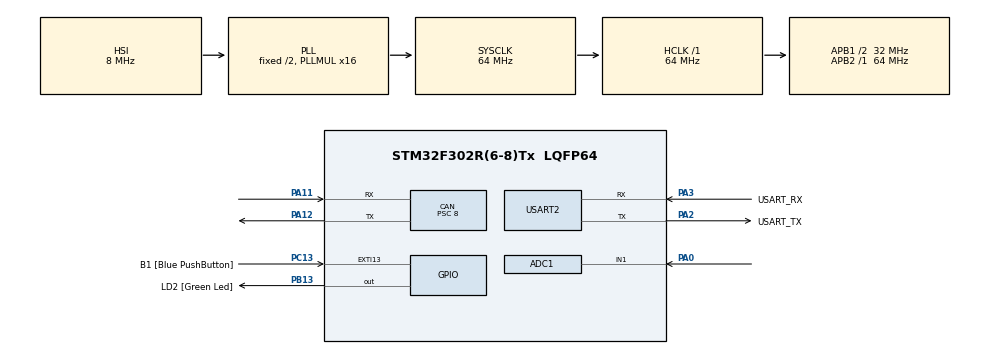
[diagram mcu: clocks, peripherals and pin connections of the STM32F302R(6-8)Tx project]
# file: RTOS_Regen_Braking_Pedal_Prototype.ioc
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ADC1.Channel-0\#ChannelRegularConversion=ADC_CHANNEL_1
ADC1.NbrOfConversionFlag=1
ADC1.Offset-0\#ChannelRegularConversion=0
ADC1.OffsetNumber-0\#ChannelRegularConversion=ADC_OFFSET_NONE
ADC1.Rank-0\#ChannelRegularConversion=1
ADC1.SamplingTime-0\#ChannelRegularConversion=ADC_SAMPLETIME_601CYCLES_5
ADC1.SamplingTimeOPAMP-0\#ChannelRegularConversion=ADC_SAMPLETIME_61CYCLES_5
ADC1.SubFamily=STM32F302x8
ADC1.master=1
CAN.BS1=CAN_BS1_13TQ
CAN.BS2=CAN_BS2_2TQ
CAN.CalculateBaudRate=250000
CAN.CalculateTimeBit=4000
CAN.CalculateTimeQuantum=250.0
CAN.Mode=CAN_MODE_LOOPBACK
CAN.Prescaler=8
FREERTOS.Tasks01=PedalControl,24,128,ControlPedal,Default,NULL,Dynamic,NULL,NULL;DataDisplay,24,128,DisplayData,Default,NULL,Dynamic,NULL,NULL;APPSCalibration,16,128,StartAPPSCalibration,Default,NULL,Dynamic,NULL,NULL;CANWatchdog,24,128,StartCANWatchdog,Default,NULL,Dynamic,NULL,NULL
FREERTOS.configUSE_NEWLIB_REENTRANT=1
Mcu.Family=STM32F3
Mcu.Name=STM32F302R(6-8)Tx
Mcu.Package=LQFP64
NVIC.PriorityGroup=NVIC_PRIORITYGROUP_4
NVIC.TIM6_DAC_IRQn=true\:15\:0\:false\:false\:true\:false\:false\:true\:true
NVIC.TimeBase=TIM6_DAC_IRQn
NVIC.TimeBaseIP=TIM6
NVIC.USB_LP_CAN_RX0_IRQn=true\:5\:0\:false\:false\:true\:true\:true\:true\:true
PA0.Mode=IN1-Single-Ended
PA0.Signal=ADC1_IN1
PA11.GPIO_PuPd=GPIO_PULLUP
PA11.Mode=CAN_Activate
PA11.Signal=CAN_RX
PA12.Mode=CAN_Activate
PA12.Signal=CAN_TX
PA13.GPIO_Label=TMS
PA13.Mode=Serial_Wire
PA13.Signal=SYS_JTMS-SWDIO
PA14.GPIO_Label=TCK
PA14.Mode=Serial_Wire
PA14.Signal=SYS_JTCK-SWCLK
PA2.GPIO_Label=USART_TX
PA2.GPIO_Mode=GPIO_MODE_AF_PP
PA2.GPIO_PuPd=GPIO_NOPULL
PA2.GPIO_Speed=GPIO_SPEED_FREQ_LOW
PA2.Mode=Asynchronous
PA2.Signal=USART2_TX
PA3.GPIO_Label=USART_RX
PA3.GPIO_Mode=GPIO_MODE_AF_PP
PA3.GPIO_PuPd=GPIO_NOPULL
PA3.GPIO_Speed=GPIO_SPEED_FREQ_LOW
PA3.Mode=Asynchronous
PA3.Signal=USART2_RX
PB13.GPIO_Label=LD2 [Green Led]
PB13.Signal=GPIO_Output
PB3.GPIO_Label=SWO
PB3.Mode=Trace_Asynchronous_SW
PB3.Signal=SYS_JTDO-TRACESWO
PC13.GPIO_Label=B1 [Blue PushButton]
PC13.GPIO_ModeDefaultEXTI=GPIO_MODE_IT_FALLING
PC13.Signal=GPXTI13
PC14\ -\ OSC32_IN.Mode=LSE-External-Oscillator
PC14\ -\ OSC32_IN.Signal=RCC_OSC32_IN
PC15\ -\ OSC32_OUT.Mode=LSE-External-Oscillator
PC15\ -\ OSC32_OUT.Signal=RCC_OSC32_OUT
PF0-OSC_IN.Mode=HSE-External-Clock-Source
PF0-OSC_IN.Signal=RCC_OSC_IN
PF1-OSC_OUT.Signal=RCC_OSC_OUT
ProjectManager.HeapSize=0x200
ProjectManager.StackSize=0x400
ProjectManager.TargetToolchain=STM32CubeIDE
RCC.AHBFreq_Value=64000000
RCC.APB1CLKDivider=RCC_HCLK_DIV2
RCC.APB1Freq_Value=32000000
RCC.APB1TimFreq_Value=64000000
RCC.APB2Freq_Value=64000000
RCC.APB2TimFreq_Value=64000000
RCC.CortexFreq_Value=64000000
RCC.HCLKFreq_Value=64000000
RCC.HSE_VALUE=8000000
RCC.HSI_VALUE=8000000
RCC.PLLM=8
RCC.PLLMUL=RCC_PLL_MUL16
RCC.PLLN=336
RCC.PLLP=RCC_PLLP_DIV4
RCC.PLLQ=7
RCC.RCC_PLLsource_Clock_Source_FROM_HSE=RCC_HSE_PREDIV_DIV2
RCC.SYSCLKFreq_VALUE=64000000
RCC.SYSCLKSourceVirtual=RCC_SYSCLKSOURCE_PLLCLK
RCC.USBFreq_Value=64000000
USART2.VirtualMode-Asynchronous=VM_ASYNC
VP_FREERTOS_VS_CMSIS_V2.Mode=CMSIS_V2
VP_SYS_VS_tim6.Mode=TIM6
board=NUCLEO-F302R8

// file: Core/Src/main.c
/* USER CODE BEGIN Header */
/**
  ******************************************************************************
  * @file           : main.c
  * @brief          : Main program body
  ******************************************************************************
  * @attention
  *
  * Copyright (c) 2026 STMicroelectronics.
  * All rights reserved.
  *
  * This software is licensed under terms that can be found in the LICENSE file
  * in the root directory of this software component.
  * If no LICENSE file comes with this software, it is provided AS-IS.
  *
  ******************************************************************************
  */
/* USER CODE END Header */
#include "main.h"
#include "cmsis_os.h"

/* USER CODE BEGIN Includes */
#include <stdio.h>
#include <string.h>
#include <ctype.h>
#include <stdlib.h>

/* USER CODE END Includes */

/* USER CODE BEGIN PD */

#define DISPLAY_CAN_MESSAGE 1			// Turn this on/off if you want to print/ignore raw CAN Messages
#define DISPLAY_CAN_ERRORS 1			// Turn this on/off if you want to print/ignore CAN Errors

// Pedal Calibration Inversion Constants
#define  InvertAnalogOnePedal 0 // Swap the max and min pedal voltages on analog line one
#define  InvertAnalogTwoPedal 0 // Swap the max and min pedal voltages on analog line two

/* USER CODE END PD */

ADC_HandleTypeDef hadc1;

CAN_HandleTypeDef hcan;

UART_HandleTypeDef huart2;

/* Definitions for PedalControl */
osThreadId_t PedalControlHandle;
const osThreadAttr_t PedalControl_attributes = {
  .name = "PedalControl",
  .stack_size = 128 * 4,
  .priority = (osPriority_t) osPriorityNormal,
};
/* Definitions for DataDisplay */
osThreadId_t DataDisplayHandle;
const osThreadAttr_t DataDisplay_attributes = {
  .name = "DataDisplay",
  .stack_size = 128 * 4,
  .priority = (osPriority_t) osPriorityNormal,
};
/* Definitions for APPSCalibration */
osThreadId_t APPSCalibrationHandle;
const osThreadAttr_t APPSCalibration_attributes = {
  .name = "APPSCalibration",
  .stack_size = 128 * 4,
  .priority = (osPriority_t) osPriorityBelowNormal,
};
/* Definitions for CANWatchdog */
osThreadId_t CANWatchdogHandle;
const osThreadAttr_t CANWatchdog_attributes = {
  .name = "CANWatchdog",
  .stack_size = 128 * 4,
  .priority = (osPriority_t) osPriorityNormal,
};
/* USER CODE BEGIN PV */

CAN_TxHeaderTypeDef TxHeader; // Header containing the information of the transmitted frame
CAN_RxHeaderTypeDef RxHeader; // Header containing the information of the received frame

uint8_t TxData[8] = {0}; // Buffer of the data to send (8 bytes data)
uint8_t RxData[8]; // Buffer of the received data (8 bytes data)
uint32_t TxMailbox; // The number of the email box that transmitted the Tx message

const uint8_t MC_NodeId = 0x04; // Node ID of the MC

// MC commands
const uint16_t CMD_SetRelativeCurrent = (0x500 + MC_NodeId); // Set relative AC current message ID
const uint16_t CMD_SetRelativeBrakeCurrent = (0x600 + MC_NodeId);  // Set relative AC brake current message ID
const uint16_t CMD_SetMaxAcCurrent = (0x800 + MC_NodeId); // Set max AC current limit message ID
const uint16_t CMD_SetMaxBrakeCurrent = (0x900 + MC_NodeId); // Set max AC brake current limit message ID
const uint16_t CMD_SetMaxDcCurrent = (0xA + MC_NodeId); // Set max DC current limit message ID
const uint16_t CMD_SetMaxDcBrakeCurrent = (0xB + MC_NodeId); // Set max DC brake current limit message ID

// Data from MC
const uint16_t RCV_MC_GeneralData = (0x1F + MC_NodeId);

// AMS Limits
uint16_t DischargeCurrentLimit = 30; // AMS discharge current limit
uint16_t ChargeCurrentLimit = 20; // AMS charge current limit

// Pedal Calibration Constants
float MaxPedalVoltage[2] = {3.3, 3.3}; // Max voltages on both analog lines for the pedal input
float MinPedalVoltage[2] = {0.5, 0.5}; // Min voltages on both analog lines for the pedal input
float CenterPedalVoltage[2] = {2.0, 2.0}; // Center voltages on both analog lines for the pedal input. This voltage corresponds position in which braking/throttle is swapped

float PedalDeadband = 0.15; // Percent deadband of pedal

uint32_t lastThrottleOrBrake = 0; // Gets the time at which a throttle or break CAN message is sent

float inputPedalVoltage = 2.0; // voltage that the APPS is outputting to the STM
char msg[20];
char CANBuffer[100]; // Buffer used to display CAN messages on terminal
uint16_t CalculatedValue; // The value to be sent over to the MC over CAN

///////////////////////////////////////////////////////////////////////////////////////////////
////////////////////////////////////CAN Watchdog /////////////////////////////////////////////
/////////////////////////////////////////////////////////////////////////////////////////////

// Initializes variables to be used to check when the last respective message was sent
// uint32_t lastHeartBeatMessage = 0;
 uint32_t lastTemMessage = 0;
 uint32_t lastAmsMessage = 0;
 uint32_t lastMcMessage = 0;
 uint32_t lastChargerMessage = 0;

 // Initializes flags to indicate when a certain ECU hasn't sent a message in a second, timing out
// uint8_t heartBeatError = 0;
 uint8_t temError = 0;
 uint8_t amsError = 0;
 uint8_t mcError = 0;
 uint8_t chargerError = 0;

 // Creates int to determine if we are charging or not
 uint8_t isCharging = 1;

/* USER CODE END PV */

void SystemClock_Config(void);
static void MX_GPIO_Init(void);
static void MX_CAN_Init(void);
static void MX_USART2_UART_Init(void);
static void MX_ADC1_Init(void);
void ControlPedal(void *argument);
void DisplayData(void *argument);
void StartAPPSCalibration(void *argument);
void StartCANWatchdog(void *argument);

/* USER CODE BEGIN PFP */

// Prototype for CAN Transmission
HAL_StatusTypeDef CAN_Send(uint32_t id, uint8_t *data, uint8_t length);

// Prototype to see if a certain message hasn't been seen in over a second
uint8_t lastMessageSent(uint32_t lastMessage);

/* USER CODE END PFP */

int main(void)
{

  /* MCU Configuration--------------------------------------------------------*/

  /* Reset of all peripherals, Initializes the Flash interface and the Systick. */
  HAL_Init();

  /* USER CODE BEGIN Init */

  HAL_Delay(35000);				// Add a delay for startup to have no power to not fault anything

  /* USER CODE END Init */

  /* Configure the system clock */
  SystemClock_Config();

  /* Initialize all configured peripherals */
  MX_GPIO_Init();
  MX_CAN_Init();
  MX_USART2_UART_Init();
  MX_ADC1_Init();
  /* USER CODE BEGIN 2 */

  TxHeader.StdId = 0x123; // ID the STM is transmitting with

  // Describes how CAN frame should be transmitted

  TxHeader.RTR = CAN_RTR_DATA; // Remote Transmission Request (RTR) tells CAN controller we are sending data
  TxHeader.IDE = CAN_ID_STD; // Identifies if we are using extended(29-bit) or standard (11-bit) CAN; It is currently set to standard
  TxHeader.DLC = 8; // Data Length Code (DLC) -- The number of bytes in the data frame
  TxHeader.TransmitGlobalTime = DISABLE; // Disables internal timestamp when sending data
  TxData[0] = 0;
  TxData[7] = 0xFF;

  /* USER CODE END 2 */

  /* Init scheduler */
  osKernelInitialize();

  /* Create the thread(s) */
  /* creation of PedalControl */
  PedalControlHandle = osThreadNew(ControlPedal, NULL, &PedalControl_attributes);

  /* creation of DataDisplay */
  DataDisplayHandle = osThreadNew(DisplayData, NULL, &DataDisplay_attributes);

  /* creation of APPSCalibration */
  APPSCalibrationHandle = osThreadNew(StartAPPSCalibration, NULL, &APPSCalibration_attributes);

  /* creation of CANWatchdog */
  CANWatchdogHandle = osThreadNew(StartCANWatchdog, NULL, &CANWatchdog_attributes);

  /* Start scheduler */
  osKernelStart();

  /* We should never get here as control is now taken by the scheduler */

  /* Infinite loop */
  while (1)
  {

  }
}

void SystemClock_Config(void)
{
  RCC_OscInitTypeDef RCC_OscInitStruct = {0};
  RCC_ClkInitTypeDef RCC_ClkInitStruct = {0};
  RCC_PeriphCLKInitTypeDef PeriphClkInit = {0};

  /** Initializes the RCC Oscillators according to the specified parameters
  * in the RCC_OscInitTypeDef structure.
  */
  RCC_OscInitStruct.OscillatorType = RCC_OSCILLATORTYPE_HSI;
  RCC_OscInitStruct.HSIState = RCC_HSI_ON;
  RCC_OscInitStruct.HSICalibrationValue = RCC_HSICALIBRATION_DEFAULT;
  RCC_OscInitStruct.PLL.PLLState = RCC_PLL_ON;
  RCC_OscInitStruct.PLL.PLLSource = RCC_PLLSOURCE_HSI;
  RCC_OscInitStruct.PLL.PLLMUL = RCC_PLL_MUL16;
  if (HAL_RCC_OscConfig(&RCC_OscInitStruct) != HAL_OK)
  {
    Error_Handler();
  }

  /** Initializes the CPU, AHB and APB buses clocks
  */
  RCC_ClkInitStruct.ClockType = RCC_CLOCKTYPE_HCLK|RCC_CLOCKTYPE_SYSCLK
                              |RCC_CLOCKTYPE_PCLK1|RCC_CLOCKTYPE_PCLK2;
  RCC_ClkInitStruct.SYSCLKSource = RCC_SYSCLKSOURCE_PLLCLK;
  RCC_ClkInitStruct.AHBCLKDivider = RCC_SYSCLK_DIV1;
  RCC_ClkInitStruct.APB1CLKDivider = RCC_HCLK_DIV2;
  RCC_ClkInitStruct.APB2CLKDivider = RCC_HCLK_DIV1;

  if (HAL_RCC_ClockConfig(&RCC_ClkInitStruct, FLASH_LATENCY_2) != HAL_OK)
  {
    Error_Handler();
  }
  PeriphClkInit.PeriphClockSelection = RCC_PERIPHCLK_ADC1;
  PeriphClkInit.Adc1ClockSelection = RCC_ADC1PLLCLK_DIV1;

  if (HAL_RCCEx_PeriphCLKConfig(&PeriphClkInit) != HAL_OK)
  {
    Error_Handler();
  }
}

static void MX_ADC1_Init(void)
{

  ADC_ChannelConfTypeDef sConfig = {0};

  /** Common config
  */
  hadc1.Instance = ADC1;
  hadc1.Init.ClockPrescaler = ADC_CLOCK_ASYNC_DIV1;
  hadc1.Init.Resolution = ADC_RESOLUTION_12B;
  hadc1.Init.ScanConvMode = ADC_SCAN_DISABLE;
  hadc1.Init.ContinuousConvMode = DISABLE;
  hadc1.Init.DiscontinuousConvMode = DISABLE;
  hadc1.Init.ExternalTrigConvEdge = ADC_EXTERNALTRIGCONVEDGE_NONE;
  hadc1.Init.ExternalTrigConv = ADC_SOFTWARE_START;
  hadc1.Init.DataAlign = ADC_DATAALIGN_RIGHT;
  hadc1.Init.NbrOfConversion = 1;
  hadc1.Init.DMAContinuousRequests = DISABLE;
  hadc1.Init.EOCSelection = ADC_EOC_SINGLE_CONV;
  hadc1.Init.LowPowerAutoWait = DISABLE;
  hadc1.Init.Overrun = ADC_OVR_DATA_OVERWRITTEN;
  if (HAL_ADC_Init(&hadc1) != HAL_OK)
  {
    Error_Handler();
  }

  /** Configure Regular Channel
  */
  sConfig.Channel = ADC_CHANNEL_1;
  sConfig.Rank = ADC_REGULAR_RANK_1;
  sConfig.SingleDiff = ADC_SINGLE_ENDED;
  sConfig.SamplingTime = ADC_SAMPLETIME_601CYCLES_5;
  sConfig.OffsetNumber = ADC_OFFSET_NONE;
  sConfig.Offset = 0;
  if (HAL_ADC_ConfigChannel(&hadc1, &sConfig) != HAL_OK)
  {
    Error_Handler();
  }

}

static void MX_CAN_Init(void)
{

  /* USER CODE BEGIN CAN_Init 0 */

	CAN_FilterTypeDef filter; // Declares filter

  /* USER CODE END CAN_Init 0 */

  hcan.Instance = CAN;
  hcan.Init.Prescaler = 8;
  hcan.Init.Mode = CAN_MODE_LOOPBACK;
  hcan.Init.SyncJumpWidth = CAN_SJW_1TQ;
  hcan.Init.TimeSeg1 = CAN_BS1_13TQ;
  hcan.Init.TimeSeg2 = CAN_BS2_2TQ;
  hcan.Init.TimeTriggeredMode = DISABLE;
  hcan.Init.AutoBusOff = DISABLE;
  hcan.Init.AutoWakeUp = DISABLE;
  hcan.Init.AutoRetransmission = DISABLE;
  hcan.Init.ReceiveFifoLocked = DISABLE;
  hcan.Init.TransmitFifoPriority = DISABLE;
  if (HAL_CAN_Init(&hcan) != HAL_OK)
  {
    Error_Handler();
  }
  /* USER CODE BEGIN CAN_Init 2 */

  // Sets up filter for CAN messages; Allows all messages to pass

    filter.FilterBank = 0;
    filter.FilterMode = CAN_FILTERMODE_IDMASK;
    filter.FilterScale = CAN_FILTERSCALE_32BIT;
    filter.FilterIdHigh = 0x0000;
    filter.FilterIdLow = 0x0000;
    filter.FilterMaskIdHigh = 0x0000;
    filter.FilterMaskIdLow = 0x0000;
    filter.FilterFIFOAssignment = CAN_RX_FIFO0; // The data will be received in FIO0
    filter.FilterActivation = ENABLE;
    filter.SlaveStartFilterBank = 14;

    if (HAL_CAN_ConfigFilter(&hcan, &filter) != HAL_OK) // checks to see if filter is configured correctly
    {
  	  // Filter configuration error
  	  Error_Handler();
    }
    // Starts CAN peripheral if filter config is good
    if (HAL_CAN_Start(&hcan) != HAL_OK) // Tries to start CAN and checks for error
    {
  	  Error_Handler();
    }

    // Activate CAN RX notifications on FIFO0
    if (HAL_CAN_ActivateNotification(&hcan, CAN_IT_RX_FIFO0_MSG_PENDING) != HAL_OK)
    {
  	  Error_Handler();
    }

  /* USER CODE END CAN_Init 2 */

}

static void MX_USART2_UART_Init(void)
{

  huart2.Instance = USART2;
  huart2.Init.BaudRate = 38400;
  huart2.Init.WordLength = UART_WORDLENGTH_8B;
  huart2.Init.StopBits = UART_STOPBITS_1;
  huart2.Init.Parity = UART_PARITY_NONE;
  huart2.Init.Mode = UART_MODE_TX_RX;
  huart2.Init.HwFlowCtl = UART_HWCONTROL_NONE;
  huart2.Init.OverSampling = UART_OVERSAMPLING_16;
  huart2.Init.OneBitSampling = UART_ONE_BIT_SAMPLE_DISABLE;
  huart2.AdvancedInit.AdvFeatureInit = UART_ADVFEATURE_NO_INIT;
  if (HAL_UART_Init(&huart2) != HAL_OK)
  {
    Error_Handler();
  }

}

static void MX_GPIO_Init(void)
{
  GPIO_InitTypeDef GPIO_InitStruct = {0};

  /* GPIO Ports Clock Enable */
  __HAL_RCC_GPIOC_CLK_ENABLE();
  __HAL_RCC_GPIOF_CLK_ENABLE();
  __HAL_RCC_GPIOA_CLK_ENABLE();
  __HAL_RCC_GPIOB_CLK_ENABLE();

  /*Configure GPIO pin Output Level */
  HAL_GPIO_WritePin(LD2_GPIO_Port, LD2_Pin, GPIO_PIN_RESET);

  /*Configure GPIO pin : B1_Pin */
  GPIO_InitStruct.Pin = B1_Pin;
  GPIO_InitStruct.Mode = GPIO_MODE_IT_FALLING;
  GPIO_InitStruct.Pull = GPIO_NOPULL;
  HAL_GPIO_Init(B1_GPIO_Port, &GPIO_InitStruct);

  /*Configure GPIO pin : LD2_Pin */
  GPIO_InitStruct.Pin = LD2_Pin;
  GPIO_InitStruct.Mode = GPIO_MODE_OUTPUT_PP;
  GPIO_InitStruct.Pull = GPIO_NOPULL;
  GPIO_InitStruct.Speed = GPIO_SPEED_FREQ_LOW;
  HAL_GPIO_Init(LD2_GPIO_Port, &GPIO_InitStruct);

}

/* USER CODE BEGIN 4 */

// CAN Transmit Function
HAL_StatusTypeDef CAN_Send(uint32_t id, uint8_t *data, uint8_t length)
{
//    CAN_TxHeaderTypeDef TxHeader;
//    uint32_t TxMailbox;

    TxHeader.StdId = id;
    TxHeader.ExtId = 0;
    TxHeader.IDE   = CAN_ID_STD;
    TxHeader.RTR   = CAN_RTR_DATA;
    TxHeader.DLC   = length;
    TxHeader.TransmitGlobalTime = DISABLE;

    return HAL_CAN_AddTxMessage(&hcan, &TxHeader, data, &TxMailbox);
}

// Function to check if a certain message was received over the last half second
uint8_t lastMessageSent(uint32_t lastMessage){
	if ((HAL_GetTick() - lastMessage) >= 3000) {
		return 1;
	}
	return 0;
}

// Function to override print
//int _write(int file, char *ptr, int len)
//{
//    HAL_UART_Transmit(&huart2, (uint8_t *)ptr, len, HAL_MAX_DELAY);
//    return len;
//}

/* USER CODE END 4 */

void ControlPedal(void *argument)
{
  /* USER CODE BEGIN 5 */
  /* Infinite loop */
  for(;;)
  {
//	UBaseType_t highWaterMark;

	HAL_ADC_Start(&hadc1); // Starts ADC1 on STM32
//	HAL_ADC_PollForConversion(&hadc1, 20); // ADC data collected via polling with timeout of 20 units
	  if (HAL_ADC_PollForConversion(&hadc1, 20) == HAL_OK)
	  {
		  inputPedalVoltage = (HAL_ADC_GetValue(&hadc1)) * (3.3 / 4095);

//		  sprintf(msg, "Voltage: %hu\r\n", inputPedalVoltage);
	  }
//	  else
//	  {
//		  sprintf(msg, "ADC Timeout\r\n");
//	  }
	//inputPedalVoltage = HAL_ADC_GetValue(&hadc1); // Gets and stores ADC value from ADC1 into variable
//	  sprintf(msg, "Voltage: %hu \r\n", inputPedalVoltage);
//	  HAL_UART_Transmit(&huart2, (uint8_t *)msg, strlen(msg), HAL_MAX_DELAY); // Need to be mindefule of using max delay

	//inputPedalVoltage = 1.5;

	// Will need to think about what to do when pedal voltage is exactly the center voltage. However, this is where deadband may come in
	if (inputPedalVoltage > CenterPedalVoltage[0] && inputPedalVoltage <= MaxPedalVoltage[0]) // Checks if the car is trying to accelerate and is not faulted
	{
		//TxData[0]++; // Increment the first byte

		TxHeader.StdId = CMD_SetRelativeCurrent; // ID the STM is transmitting with

		CalculatedValue = ((inputPedalVoltage - CenterPedalVoltage[0]) / (MaxPedalVoltage[0] - CenterPedalVoltage[0])) * 1000;

		// Splits 16 bit calculated value into two separate bytes. This is because the MC expects a 2 byte long data frame
		// Shifting order is because of Big Endian format on MC
		// 0xFF used to explicitly select the correct bits to be sent.

		TxData[0] = (CalculatedValue >> 8) & 0xFF;   // 0x00
		TxData[1] = CalculatedValue & 0xFF;          // 0xc8

	}
	else if (inputPedalVoltage < CenterPedalVoltage[0] && inputPedalVoltage >= MinPedalVoltage[0]) // Checks if the car is braking and is not faulted
	{
		TxHeader.StdId = CMD_SetRelativeBrakeCurrent; // ID the STM is transmitting with

		CalculatedValue = ((inputPedalVoltage - MinPedalVoltage[0]) / (CenterPedalVoltage[0] - MinPedalVoltage[0])) * 1000;

		TxData[0] = (CalculatedValue >> 8) & 0xFF;   // 0x00
		TxData[1] = CalculatedValue & 0xFF;          // 0xc8
	}
	else
	{
		TxHeader.StdId = 0x111;

		TxData[0] = 0xFF;   // 0x00
		TxData[1] = 0xFF;
	}

//	printf("CMD = 0x%X\r\n", CMD_SetRelativeCurrent);
//	printf("StdId = 0x%X\r\n", TxHeader.StdId);

	while(HAL_CAN_GetTxMailboxesFreeLevel(&hcan) == 0); /* Wait till a Tx mailbox is free. Using while loop instead of HAL_Delay() */

	if (HAL_CAN_AddTxMessage(&hcan, &TxHeader, TxData, &TxMailbox) != HAL_OK)
	{
	 /* Transmission request Error */
	  Error_Handler();
	}

//	highWaterMark = uxTaskGetStackHighWaterMark(NULL);
//
//	printf("Unused stack: %lu words\r\n", (uint32_t)highWaterMark); // Prints how much space a task is not using

    osDelay(500);
  }
  /* USER CODE END 5 */
}

void DisplayData(void *argument)
{
  /* USER CODE BEGIN DisplayData */
  /* Infinite loop */
  for(;;)
  {

	if (HAL_CAN_GetRxFifoFillLevel(&hcan, CAN_RX_FIFO0) > 0) //  Checks if there are messages waiting in the receive FIFO
	{
		if (HAL_CAN_GetRxMessage(&hcan, CAN_RX_FIFO0, &RxHeader, RxData) != HAL_OK)
			{
				Error_Handler();
			}

		uint16_t Rx_Id; // Message ID of received data

		if (RxHeader.IDE == CAN_ID_STD) { // Checks if standard or extended CAN ID is being used
			Rx_Id = RxHeader.StdId; // Stores CAN ID of standard CAN message
		} else {
			Rx_Id = RxHeader.ExtId; // Stores CAN ID of extended CAN message
		}

		uint8_t CANBufferLengthUsed = 0;

		//snprintf returns the # of characters written

		CANBufferLengthUsed += snprintf(CANBuffer, sizeof(CANBuffer), "CAN Message: %08X	", Rx_Id); // Appends CAN ID to CANBuffer

		for (int i = 0; i < 8; i++)
		{
			// Prints received CAN data as 2 digit hex on new lines
			// Appends each new data on next empty CANBuffer spot
			CANBufferLengthUsed += snprintf(&CANBuffer[CANBufferLengthUsed], sizeof((CANBuffer) - CANBufferLengthUsed), " %02X", RxData[i]);
		}
		CANBufferLengthUsed += snprintf(&CANBuffer[CANBufferLengthUsed], sizeof((CANBuffer) - CANBufferLengthUsed), "\r\n");

//	    sprintf(msg, "Voltage: %.3f V\r\n", inputPedalVoltage);
//	    HAL_UART_Transmit(&huart2, (uint8_t *)msg, strlen(msg), HAL_MAX_DELAY); // Need to be mindefule of using max delay

		// Sends CANBuffer over UART
		HAL_UART_Transmit(&huart2, (uint8_t *)CANBuffer, CANBufferLengthUsed, HAL_MAX_DELAY); // CANBufferLengthUsed used instead of sizeof(CANBuffer) bc length of the CANBuffer is already known

	}

    osDelay(600);
  }
  /* USER CODE END DisplayData */
}

void StartAPPSCalibration(void *argument)
{
  for(;;)
  {
    osDelay(1);
  }
}

void StartCANWatchdog(void *argument)
{
  /* USER CODE BEGIN StartCANWatchdog */
  /* Infinite loop */
  for(;;)
  {

	  // Send CAN Heartbeat message
//	 CAN_Send(0x123, TxData, 8);

	 // Throw a lil delay to let the CAN message go thru
	 osDelay(50);

	 // Check if each message has been received over the past half second
//	 heartBeatError = lastMessageSent(lastHeartBeatMessage);
	 temError = lastMessageSent(lastTemMessage);
	 amsError = lastMessageSent(lastAmsMessage);
	 mcError = lastMessageSent(lastMcMessage);

	 // If charging enabled, also check for charger
	 if(isCharging)
	 {
		 chargerError = lastMessageSent(lastChargerMessage);
	 }
	 else{
		 chargerError = 0;
	 }

	 // If any of the error flags are high, Shut the relay down
	 if(temError + amsError + mcError + chargerError)
	 {
		 HAL_GPIO_WritePin(GPIOB, GPIO_PIN_3, GPIO_PIN_SET); // This turns the LED on
		 HAL_GPIO_WritePin(GPIOA, GPIO_PIN_0, GPIO_PIN_RESET);
	 }
	 else
	 {
		 HAL_GPIO_WritePin(GPIOB, GPIO_PIN_3, GPIO_PIN_RESET); // This turns the LED off
		 HAL_GPIO_WritePin(GPIOA, GPIO_PIN_0, GPIO_PIN_SET);

		 // Displays to the console any errors
		 if(DISPLAY_CAN_ERRORS)
		 {
//			 if(heartBeatError)
//			 {
//				 printf("Heartbeat message not received within a second.\r\n");
//				 fflush(stdout);
//			 }
			 if(temError)
			 {
				 printf("TEM message not received within a second.\r\n");
				 fflush(stdout);
			 }
			 if(amsError)
			 {
				 printf("AMS message not received within a second.\r\n");
				 fflush(stdout);
			 }
			 if(mcError)
			 {
				 printf("MC message not received within a second.\r\n");
				 fflush(stdout);
			 }
			 if(chargerError)
			 {
				 printf("Charger message not received within a second.\r\n");
				 fflush(stdout);
		 	 }
	 	 }
   	 }

    osDelay(1);
  }
  /* USER CODE END StartCANWatchdog */
}

void HAL_TIM_PeriodElapsedCallback(TIM_HandleTypeDef *htim)
{
  if (htim->Instance == TIM6)
  {
    HAL_IncTick();
  }
  /* USER CODE BEGIN Callback 1 */

// Callback function for data received on FIFO0
void HAL_CAN_RxFifo0MsgPendingCallback(CAN_HandleTypeDef *hcan)
{

	if (HAL_CAN_GetRxMessage(hcan, CAN_RX_FIFO0, &RxHeader, RxData) != HAL_OK)
	{
		// Reception Error; error thrown if the receive fails
		Error_Handler();
	}

//    CAN_RxHeaderTypeDef RxHeader;
//    uint8_t RxData[8];

    // Pull the CAN message
    HAL_CAN_GetRxMessage(hcan, CAN_RX_FIFO0, &RxHeader, RxData);

    // Determine standard vs extended CAN ID - NEW
	uint32_t rx_id;
	if (RxHeader.IDE == CAN_ID_STD) {
		rx_id = RxHeader.StdId;
	} else {
		rx_id = RxHeader.ExtId;
	}

    // Display the CAN message to the serial monitor
    if(DISPLAY_CAN_MESSAGE){

    	// Change Print syntax based on standard vs. extended
    	if (RxHeader.IDE == CAN_ID_STD){
    		printf("RX STD ID: 0x%03lX | Data:", rx_id);
    	}
		else{
			printf("RX EXT ID: 0x%08lX | Data:", rx_id);
		}

		for (int i = 0; i < RxHeader.DLC; i++)
			printf(" %02X", RxData[i]);

		printf("\r\n");
    }

    // Based on the CAN ID, determines what ECU sent the message, and update the time that
    // the ECU sent it's message, as well as resetting any error
    switch(rx_id)
    {
    	// CAN Heartbeat message
//        case 0x023:
//            lastHeartBeatMessage = HAL_GetTick();
//            heartBeatError = 0;
//            break;

        // TEM Message
        case 0x080:
        	lastTemMessage = HAL_GetTick();
			temError = 0;
			break;

		// AMS Message
        case 0x7E3:
        	lastAmsMessage = HAL_GetTick();
			amsError = 0;

			// Check to see if charging
			if(RxData[0] == 0xFF){
				isCharging = 1;
				if(DISPLAY_CAN_ERRORS){
					if(RxData[1] != 0x00){
						printf("AMS CAN Charging Message is Corrupt.\r\n");
						fflush(stdout);
					}
				}
			}
			else if(RxData[0] == 0x00){
				isCharging = 0;
				if(DISPLAY_CAN_ERRORS){
					if(RxData[1] != 0xFF){
						printf("AMS CAN Charging Message is Corrupt.\r\n");
						fflush(stdout);
					}
				}
			}
			break;

		// MC Message
        case 0x41A:
        	lastMcMessage = HAL_GetTick();
			mcError = 0;
			break;

		// Charger Message - UPDATE
		case 0x18FF50E5:
			lastChargerMessage = HAL_GetTick();
			chargerError = 0;
			break;

    }
}

  /* USER CODE END Callback 1 */
}

void Error_Handler(void)
{
  __disable_irq();
  while (1)
  {
  }
}
